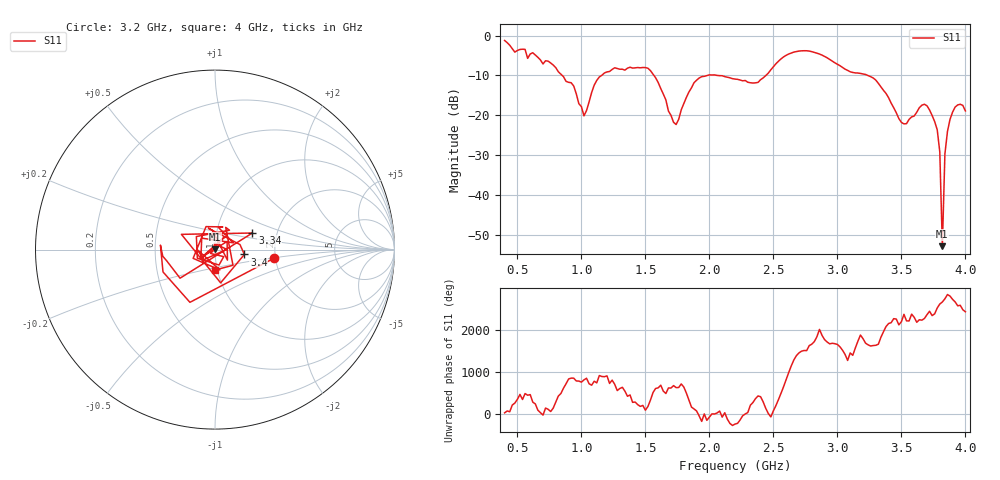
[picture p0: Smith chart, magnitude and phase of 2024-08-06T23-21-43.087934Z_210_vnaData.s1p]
!Created with skrf (http://scikit-rf.org).
# Hz S RI R 50.0
!freq ReS11 ImS11
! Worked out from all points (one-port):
!   181 points, 400 MHz to 4 GHz, reference 50 ohm
!   lowest |S11| = -52.9 dB at 3.82 GHz (marker M1), VSWR 1.00, Z = 49.8 + j0.132 ohm
!   |S11| at or under -10 dB: 1.567 GHz to 1.983 GHz (416.8 MHz wide, 23.5 % of centre); 2.062 GHz to 2.442 GHz (379.8 MHz wide, 16.9 % of centre); 3.238 GHz to end of sweep (the widest 3 of 4)
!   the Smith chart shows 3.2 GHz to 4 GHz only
!   S11 on the Smith chart (normalised r, x): 3.2 GHz: 1.95, -0.22; 3.34 GHz: 1.49, +0.29; 3.4 GHz: 1.39, -0.08; 4 GHz: 0.98, -0.22
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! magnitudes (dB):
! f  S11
! 400 MHz  -1.2
! 860 MHz  -10.3
! 940 MHz  -12.7
! 1.02 GHz  -20.2
! 1.14 GHz  -10.4
! 1.3 GHz  -8.4
! 1.52 GHz  -8.2
! 1.6 GHz  -11.8
! 1.72 GHz  -21.8
! 1.76 GHz  -21.0
! 1.92 GHz  -10.6
! 2.2 GHz  -10.9
! 2.38 GHz  -11.7
! 2.66 GHz  -4.1
! 3.1 GHz  -9.1
! 3.2 GHz  -9.6
! 3.34 GHz  -12.9
! 3.4 GHz  -15.6
! 3.5 GHz  -21.8
! 3.56 GHz  -21.0
! 3.68 GHz  -17.2
! 3.78 GHz  -23.7
! 3.8 GHz  -29.2
! 3.82 GHz  -52.9
! 3.84 GHz  -29.7
! 3.86 GHz  -24.1
! 3.92 GHz  -17.9
! 4 GHz  -18.9
